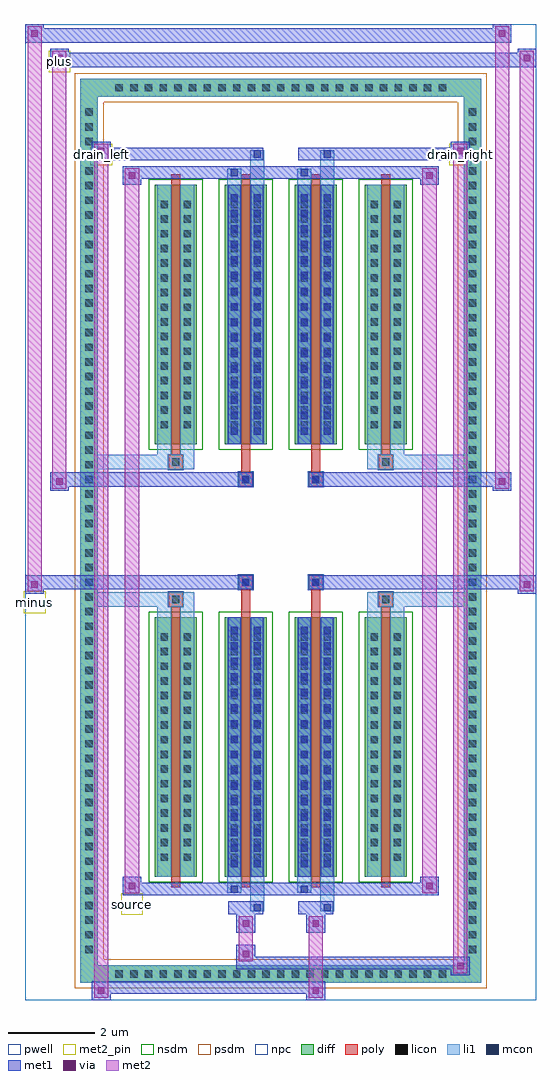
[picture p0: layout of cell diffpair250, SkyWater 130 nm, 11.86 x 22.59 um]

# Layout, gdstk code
import gdstk
lib = gdstk.Library(unit=1e-6, precision=5e-09)
def R(c, l, rs):  # rectangles x0, y0, x1, y1
    for r in rs: c.add(gdstk.rectangle(r[:2], r[2:], *l))
def A(c, l, x, y, w, h, nx, ny, dx, dy):  # array of equal rectangles
    R(c, l, [(x+i*dx, y+j*dy, x+i*dx+w, y+j*dy+h) for i in range(nx) for j in range(ny)])
def P(c, l, *ps):  # polygons
    for p in ps: c.add(gdstk.Polygon(p, *l))
pwell = (64, 44)
diff = (65, 20)
poly = (66, 20)
licon = (66, 44)
li1 = (67, 20)
mcon = (67, 44)
met1 = (68, 20)
via = (68, 44)
met2_pin = (69, 16)
met2 = (69, 20)
nsdm = (93, 44)
psdm = (94, 20)
npc = (95, 20)

diffpair250 = lib.new_cell('diffpair250')
R(diffpair250, pwell, [(-5.91,-10.86,5.91,11.73), (-3.23,-9.05,-0.01,-0.825), (0.01,-9.05,3.23,-0.825), (-3.23,0.825,-0.01,9.05), (0.01,0.825,3.23,9.05)])
A(diffpair250, diff, -3.945, -10.46, 0.41, 0.41, 23, 2, 0.34, 20.51)
A(diffpair250, diff, -4.64, -9.895, 0.41, 0.41, 1, 58, 0, 0.34)
A(diffpair250, diff, 4.23, -9.895, 0.41, 0.41, 1, 58, 0, 0.34)
A(diffpair250, diff, -2.92, -8.005, 0.98, 6, 4, 2, 1.62, 10.01)
R(diffpair250, diff, [(-3.945,-10.46,3.945,-10.05), (-4.64,-9.895,-4.23,9.895), (4.23,-9.895,4.64,9.895), (-3.945,10.05,3.945,10.46)])
P(diffpair250, diff, [(4.64,10.46),(-4.64,10.46),(-4.64,-10.05),(-4.23,-10.05),(-4.23,10.05),(4.23,10.05),(4.23,-10.05),(-4.23,-10.05),(-4.64,-10.05),(-4.64,-10.46),(4.64,-10.46)])
A(diffpair250, poly, -2.53, -8.255, 0.2, 6.5, 4, 2, 1.62, 10.01)
R(diffpair250, poly, [(-2.595,-1.755,-2.265,-1.425), (-2.595,-1.755,-2.265,-1.425), (-0.91,-1.755,-0.71,-1.355), (0.71,-1.755,0.91,-1.355), (2.265,-1.755,2.595,-1.425), (2.265,-1.755,2.595,-1.425), (-0.975,-1.355,-0.645,-1.025), (-0.975,-1.355,-0.645,-1.025), (0.645,-1.355,0.975,-1.025), (0.645,-1.355,0.975,-1.025), (-0.975,1.025,-0.645,1.355), (-0.975,1.025,-0.645,1.355), (0.645,1.025,0.975,1.355), (0.645,1.025,0.975,1.355), (-0.91,1.355,-0.71,1.755), (0.71,1.355,0.91,1.755), (-2.595,1.425,-2.265,1.755), (-2.595,1.425,-2.265,1.755), (2.265,1.425,2.595,1.755), (2.265,1.425,2.595,1.755)])
A(diffpair250, licon, -3.825, -10.34, 0.17, 0.17, 23, 2, 0.34, 20.51)
A(diffpair250, licon, -4.52, -9.775, 0.17, 0.17, 1, 58, 0, 0.34)
A(diffpair250, licon, 4.35, -9.775, 0.17, 0.17, 1, 58, 0, 0.34)
A(diffpair250, licon, -2.78, -7.64, 0.17, 0.17, 1, 16, 0, 0.34)
A(diffpair250, licon, -2.25, -7.64, 0.17, 0.17, 1, 16, 0, 0.34)
A(diffpair250, licon, -1.16, -7.64, 0.17, 0.17, 1, 16, 0, 0.34)
A(diffpair250, licon, -0.63, -7.64, 0.17, 0.17, 1, 16, 0, 0.34)
A(diffpair250, licon, 0.46, -7.64, 0.17, 0.17, 1, 16, 0, 0.34)
A(diffpair250, licon, 0.99, -7.64, 0.17, 0.17, 1, 16, 0, 0.34)
A(diffpair250, licon, 2.08, -7.64, 0.17, 0.17, 1, 16, 0, 0.34)
A(diffpair250, licon, 2.61, -7.64, 0.17, 0.17, 1, 16, 0, 0.34)
A(diffpair250, licon, -2.78, 2.37, 0.17, 0.17, 1, 16, 0, 0.34)
A(diffpair250, licon, -2.25, 2.37, 0.17, 0.17, 1, 16, 0, 0.34)
A(diffpair250, licon, -1.16, 2.37, 0.17, 0.17, 1, 16, 0, 0.34)
A(diffpair250, licon, -0.63, 2.37, 0.17, 0.17, 1, 16, 0, 0.34)
A(diffpair250, licon, 0.46, 2.37, 0.17, 0.17, 1, 16, 0, 0.34)
A(diffpair250, licon, 0.99, 2.37, 0.17, 0.17, 1, 16, 0, 0.34)
A(diffpair250, licon, 2.08, 2.37, 0.17, 0.17, 1, 16, 0, 0.34)
A(diffpair250, licon, 2.61, 2.37, 0.17, 0.17, 1, 16, 0, 0.34)
R(diffpair250, licon, [(-2.515,-1.675,-2.345,-1.505), (2.345,-1.675,2.515,-1.505), (-0.895,-1.275,-0.725,-1.105), (0.725,-1.275,0.895,-1.105), (-0.895,1.105,-0.725,1.275), (0.725,1.105,0.895,1.275), (-2.515,1.505,-2.345,1.675), (2.345,1.505,2.515,1.675)])
A(diffpair250, li1, -3.905, -10.42, 0.33, 0.33, 23, 2, 0.34, 20.51)
A(diffpair250, li1, -4.6, -9.855, 0.33, 0.33, 1, 58, 0, 0.34)
A(diffpair250, li1, 4.27, -9.855, 0.33, 0.33, 1, 58, 0, 0.34)
A(diffpair250, li1, -1.16, -7.79, 0.17, 0.17, 1, 16, 0, 0.36)
A(diffpair250, li1, -0.63, -7.79, 0.17, 0.17, 1, 16, 0, 0.36)
A(diffpair250, li1, 0.46, -7.79, 0.17, 0.17, 1, 16, 0, 0.36)
A(diffpair250, li1, 0.99, -7.79, 0.17, 0.17, 1, 16, 0, 0.36)
A(diffpair250, li1, -2.86, -7.72, 0.33, 0.33, 1, 16, 0, 0.34)
A(diffpair250, li1, -2.33, -7.72, 0.33, 0.33, 1, 16, 0, 0.34)
A(diffpair250, li1, -1.24, -7.72, 0.33, 0.33, 1, 16, 0, 0.34)
A(diffpair250, li1, -0.71, -7.72, 0.33, 0.33, 1, 16, 0, 0.34)
A(diffpair250, li1, 0.38, -7.72, 0.33, 0.33, 1, 16, 0, 0.34)
A(diffpair250, li1, 0.91, -7.72, 0.33, 0.33, 1, 16, 0, 0.34)
A(diffpair250, li1, 2, -7.72, 0.33, 0.33, 1, 16, 0, 0.34)
A(diffpair250, li1, 2.53, -7.72, 0.33, 0.33, 1, 16, 0, 0.34)
A(diffpair250, li1, -1.16, 2.22, 0.17, 0.17, 1, 16, 0, 0.36)
A(diffpair250, li1, -0.63, 2.22, 0.17, 0.17, 1, 16, 0, 0.36)
A(diffpair250, li1, 0.46, 2.22, 0.17, 0.17, 1, 16, 0, 0.36)
A(diffpair250, li1, 0.99, 2.22, 0.17, 0.17, 1, 16, 0, 0.36)
A(diffpair250, li1, -2.86, 2.29, 0.33, 0.33, 1, 16, 0, 0.34)
A(diffpair250, li1, -2.33, 2.29, 0.33, 0.33, 1, 16, 0, 0.34)
A(diffpair250, li1, -1.24, 2.29, 0.33, 0.33, 1, 16, 0, 0.34)
A(diffpair250, li1, -0.71, 2.29, 0.33, 0.33, 1, 16, 0, 0.34)
A(diffpair250, li1, 0.38, 2.29, 0.33, 0.33, 1, 16, 0, 0.34)
A(diffpair250, li1, 0.91, 2.29, 0.33, 0.33, 1, 16, 0, 0.34)
A(diffpair250, li1, 2, 2.29, 0.33, 0.33, 1, 16, 0, 0.34)
A(diffpair250, li1, 2.53, 2.29, 0.33, 0.33, 1, 16, 0, 0.34)
R(diffpair250, li1, [(-4.64,-10.46,-4.23,-10.05), (-4.64,-10.46,-4.23,-10.05), (-4.23,-10.46,4.23,-10.05), (4.23,-10.46,4.64,-10.05), (4.23,-10.46,4.64,-10.05), (-4.64,-10.05,-4.23,10.05), (4.23,-10.05,4.64,10.05), (-0.71,-8.81,-0.38,-8.005), (-0.63,-8.81,-0.46,-8.64), (0.91,-8.81,1.24,-8.005), (0.99,-8.81,1.16,-8.64), (-1.24,-8.38,-0.91,-8.005), (-1.16,-8.38,-0.99,-8.21), (0.38,-8.38,0.71,-8.005), (0.46,-8.38,0.63,-8.21), (-2.86,-8.005,-2.53,-2.005), (-2.33,-8.005,-2,-2.005), (-1.24,-8.005,-0.91,-2.005), (-0.71,-8.005,-0.38,-2.005), (0.38,-8.005,0.71,-2.005), (0.91,-8.005,1.24,-2.005), (2,-8.005,2.33,-2.005), (2.53,-8.005,2.86,-2.005), (-1.16,-7.79,-0.99,-2.22), (-0.63,-7.79,-0.46,-2.22), (0.46,-7.79,0.63,-2.22), (0.99,-7.79,1.16,-2.22), (-2.86,-2.005,-2.53,-1.425), (-2.33,-2.005,-2,-1.425), (2,-2.005,2.33,-1.425), (2.53,-2.005,2.86,-1.425), (-4.64,-1.755,-2.595,-1.425), (-2.86,-1.755,-2.595,-1.425), (-2.595,-1.755,-2.265,-1.425), (-2.265,-1.755,-2,-1.425), (2,-1.755,2.265,-1.425), (2.265,-1.755,2.595,-1.425), (2.265,-1.755,4.64,-1.425), (2.595,-1.755,2.86,-1.425), (-0.975,-1.355,-0.645,-1.025), (0.645,-1.355,0.975,-1.025), (-0.975,1.025,-0.645,1.355), (0.645,1.025,0.975,1.355), (-4.64,1.425,-2.595,1.755), (-2.86,1.425,-2.595,1.755), (-2.86,1.425,-2.53,2.005), (-2.595,1.425,-2.265,1.755), (-2.33,1.425,-2,2.005), (-2.265,1.425,-2,1.755), (2,1.425,2.265,1.755), (2,1.425,2.33,2.005), (2.265,1.425,2.595,1.755), (2.265,1.425,4.64,1.755), (2.53,1.425,2.86,2.005), (2.595,1.425,2.86,1.755), (-2.86,2.005,-2.53,8.005), (-2.33,2.005,-2,8.005), (-1.24,2.005,-0.91,8.005), (-0.71,2.005,-0.38,8.005), (0.38,2.005,0.71,8.005), (0.91,2.005,1.24,8.005), (2,2.005,2.33,8.005), (2.53,2.005,2.86,8.005), (-1.16,2.22,-0.99,7.79), (-0.63,2.22,-0.46,7.79), (0.46,2.22,0.63,7.79), (0.99,2.22,1.16,7.79), (-1.24,8.005,-0.91,8.38), (-0.71,8.005,-0.38,8.81), (0.38,8.005,0.71,8.38), (0.91,8.005,1.24,8.81), (-1.16,8.21,-0.99,8.38), (0.46,8.21,0.63,8.38), (-0.63,8.64,-0.46,8.81), (0.99,8.64,1.16,8.81), (-4.64,10.05,-4.23,10.46), (-4.64,10.05,-4.23,10.46), (-4.23,10.05,4.23,10.46), (4.23,10.05,4.64,10.46), (4.23,10.05,4.64,10.46)])
A(diffpair250, mcon, -1.16, -7.79, 0.17, 0.17, 1, 16, 0, 0.36)
A(diffpair250, mcon, -0.63, -7.79, 0.17, 0.17, 1, 16, 0, 0.36)
A(diffpair250, mcon, 0.46, -7.79, 0.17, 0.17, 1, 16, 0, 0.36)
A(diffpair250, mcon, 0.99, -7.79, 0.17, 0.17, 1, 16, 0, 0.36)
A(diffpair250, mcon, -1.16, 2.22, 0.17, 0.17, 1, 16, 0, 0.36)
A(diffpair250, mcon, -0.63, 2.22, 0.17, 0.17, 1, 16, 0, 0.36)
A(diffpair250, mcon, 0.46, 2.22, 0.17, 0.17, 1, 16, 0, 0.36)
A(diffpair250, mcon, 0.99, 2.22, 0.17, 0.17, 1, 16, 0, 0.36)
R(diffpair250, mcon, [(-0.63,-8.81,-0.46,-8.64), (0.99,-8.81,1.16,-8.64), (-1.16,-8.38,-0.99,-8.21), (0.46,-8.38,0.63,-8.21), (-0.895,-1.275,-0.725,-1.105), (0.725,-1.275,0.895,-1.105), (-0.895,1.105,-0.725,1.275), (0.725,1.105,0.895,1.275), (-1.16,8.21,-0.99,8.38), (0.46,8.21,0.63,8.38), (-0.63,8.64,-0.46,8.81), (0.99,8.64,1.16,8.81)])
A(diffpair250, met1, -1.22, -7.85, 0.29, 0.29, 1, 16, 0, 0.36)
A(diffpair250, met1, -0.69, -7.85, 0.29, 0.29, 1, 16, 0, 0.36)
A(diffpair250, met1, 0.4, -7.85, 0.29, 0.29, 1, 16, 0, 0.36)
A(diffpair250, met1, 0.93, -7.85, 0.29, 0.29, 1, 16, 0, 0.36)
A(diffpair250, met1, -1.22, 2.16, 0.29, 0.29, 1, 16, 0, 0.36)
A(diffpair250, met1, -0.69, 2.16, 0.29, 0.29, 1, 16, 0, 0.36)
A(diffpair250, met1, 0.4, 2.16, 0.29, 0.29, 1, 16, 0, 0.36)
A(diffpair250, met1, 0.93, 2.16, 0.29, 0.29, 1, 16, 0, 0.36)
R(diffpair250, met1, [(-4.37,-10.86,-3.94,-10.43), (0.595,-10.86,1.025,-10.43), (-4.37,-10.72,1.025,-10.43), (3.94,-10.29,4.37,-9.86), (-1.025,-10.15,4.37,-9.86), (-1.025,-10.01,-0.595,-9.58), (-1.025,-9.3,-0.595,-8.87), (0.595,-9.3,1.025,-8.87), (-1.22,-8.87,-0.4,-8.58), (-0.69,-8.87,-0.4,-8.58), (0.4,-8.87,1.22,-8.58), (0.93,-8.87,1.22,-8.58), (-3.66,-8.44,-3.23,-8.01), (-3.66,-8.44,-1.22,-8.15), (-1.22,-8.44,-0.93,-8.15), (-1.22,-8.44,-0.4,-8.15), (-0.4,-8.44,0.4,-8.15), (0.4,-8.44,0.69,-8.15), (0.4,-8.44,1.22,-8.15), (1.22,-8.44,3.66,-8.15), (3.23,-8.44,3.66,-8.01), (-1.22,-8.005,-0.93,-2.005), (-0.69,-8.005,-0.4,-2.005), (0.4,-8.005,0.69,-2.005), (0.93,-8.005,1.22,-2.005), (-5.91,-1.455,-5.48,-1.025), (5.48,-1.455,5.91,-1.025), (-5.91,-1.355,-0.645,-1.025), (-0.975,-1.355,-0.645,-1.025), (0.645,-1.355,0.975,-1.025), (0.645,-1.355,5.91,-1.025), (-0.955,-1.335,-0.665,-1.045), (0.665,-1.335,0.955,-1.045), (-5.34,0.925,-4.91,1.355), (4.91,0.925,5.34,1.355), (-5.34,1.025,-0.975,1.355), (-0.975,1.025,-0.645,1.355), (0.645,1.025,0.975,1.355), (0.975,1.025,5.34,1.355), (-0.955,1.045,-0.665,1.335), (0.665,1.045,0.955,1.335), (-1.22,2.005,-0.93,8.005), (-0.69,2.005,-0.4,8.005), (0.4,2.005,0.69,8.005), (0.93,2.005,1.22,8.005), (-3.66,8.01,-3.23,8.44), (3.23,8.01,3.66,8.44), (-3.66,8.15,-1.22,8.44), (-1.22,8.15,-0.93,8.44), (-1.22,8.15,-0.4,8.44), (-0.4,8.15,0.4,8.44), (0.4,8.15,0.69,8.44), (0.4,8.15,1.22,8.44), (1.22,8.15,3.66,8.44), (-4.37,8.58,-3.94,9.01), (-4.37,8.58,-1.22,8.87), (-1.22,8.58,-0.4,8.87), (-0.69,8.58,-0.4,8.87), (0.4,8.58,1.22,8.87), (0.93,8.58,1.22,8.87), (1.22,8.58,4.37,8.87), (3.94,8.58,4.37,9.01), (-5.34,10.73,-4.91,11.16), (-5.34,10.73,-3.23,11.06), (-3.23,10.73,3.23,11.06), (3.23,10.73,5.91,11.06), (5.48,10.73,5.91,11.16), (-5.91,11.3,-5.48,11.73), (-5.91,11.3,-3.23,11.63), (-3.23,11.3,3.23,11.63), (3.23,11.3,5.34,11.63), (4.91,11.3,5.34,11.73)])
R(diffpair250, via, [(-4.23,-10.72,-4.08,-10.57), (0.735,-10.72,0.885,-10.57), (4.08,-10.15,4.23,-10), (-0.885,-9.87,-0.735,-9.72), (-0.885,-9.16,-0.735,-9.01), (0.735,-9.16,0.885,-9.01), (-3.52,-8.3,-3.37,-8.15), (3.37,-8.3,3.52,-8.15), (-5.77,-1.315,-5.62,-1.165), (5.62,-1.315,5.77,-1.165), (-5.2,1.065,-5.05,1.215), (5.05,1.065,5.2,1.215), (-3.52,8.15,-3.37,8.3), (3.37,8.15,3.52,8.3), (-4.23,8.72,-4.08,8.87), (4.08,8.72,4.23,8.87), (-5.2,10.87,-5.05,11.02), (5.62,10.87,5.77,11.02), (-5.77,11.44,-5.62,11.59), (5.05,11.44,5.2,11.59)])
R(diffpair250, met2_pin, [(-3.695,-8.89,-3.195,-8.39), (-5.945,-1.905,-5.445,-1.405), (-4.405,8.46,-3.905,8.96), (3.905,8.46,4.405,8.96), (-5.375,10.61,-4.875,11.11)])
R(diffpair250, met2, [(-4.32,-10.81,-3.99,-10.48), (-4.32,-10.81,-3.99,8.96), (0.645,-10.81,0.975,-10.48), (0.645,-10.48,0.975,-9.25), (3.99,-10.24,4.32,-9.91), (3.99,-10.24,4.32,8.96), (-0.975,-9.96,-0.645,-9.63), (-0.975,-9.63,-0.645,-9.25), (-0.975,-9.25,-0.645,-8.92), (0.645,-9.25,0.975,-8.92), (-3.61,-8.39,-3.28,-8.06), (-3.61,-8.39,-3.28,8.39), (3.28,-8.39,3.61,-8.06), (3.28,-8.39,3.61,8.39), (-5.86,-1.405,-5.53,-1.075), (-5.86,-1.405,-5.53,11.68), (5.53,-1.405,5.86,-1.075), (5.53,-1.405,5.86,11.11), (-5.29,0.975,-4.96,1.305), (-5.29,0.975,-4.96,11.11), (4.96,0.975,5.29,1.305), (4.96,0.975,5.29,11.68), (-3.61,8.06,-3.28,8.39), (3.28,8.06,3.61,8.39), (-4.32,8.63,-3.99,8.96), (3.99,8.63,4.32,8.96), (-5.29,10.78,-4.96,11.11), (5.53,10.78,5.86,11.11), (-5.86,11.35,-5.53,11.68), (4.96,11.35,5.29,11.68)])
P(diffpair250, met2, [(5.86,-1.405),(5.86,-1.405),(5.86,-1.075),(5.86,-1.075)],
  [(5.86,10.78),(5.86,10.78),(5.86,11.11),(5.86,11.11)],
  [(-5.53,-1.405),(-5.53,-1.405),(-5.53,-1.075),(-5.53,-1.075)],
  [(-5.53,11.35),(-5.53,11.35),(-5.53,11.68),(-5.53,11.68)],
  [(5.29,0.975),(5.29,0.975),(5.29,1.305),(5.29,1.305)],
  [(5.29,11.35),(5.29,11.35),(5.29,11.68),(5.29,11.68)],
  [(-4.96,0.975),(-4.96,0.975),(-4.96,1.305),(-4.96,1.305)],
  [(-4.96,10.78),(-4.96,10.78),(-4.96,11.11),(-4.96,11.11)],
  [(-3.99,-10.81),(-3.99,-10.81),(-3.99,-10.48),(-3.99,-10.48)],
  [(-3.99,8.63),(-3.99,8.63),(-3.99,8.96),(-3.99,8.96)],
  [(4.32,-10.24),(4.32,-10.24),(4.32,-9.91),(4.32,-9.91)],
  [(4.32,8.63),(4.32,8.63),(4.32,8.96),(4.32,8.96)],
  [(-3.28,-8.39),(-3.28,-8.39),(-3.28,-8.06),(-3.28,-8.06)],
  [(-3.28,8.06),(-3.28,8.06),(-3.28,8.39),(-3.28,8.39)],
  [(3.61,-8.39),(3.61,-8.39),(3.61,-8.06),(3.61,-8.06)],
  [(3.61,8.06),(3.61,8.06),(3.61,8.39),(3.61,8.39)])
A(diffpair250, nsdm, -3.05, -8.135, 1.24, 6.26, 4, 2, 1.62, 10.01)
P(diffpair250, psdm, [(4.77,10.59),(-4.77,10.59),(-4.77,-9.92),(-4.1,-9.92),(-4.1,9.92),(4.1,9.92),(4.1,-9.92),(-4.1,-9.92),(-4.77,-9.92),(-4.77,-10.59),(4.77,-10.59)])
R(diffpair250, npc, [(-2.615,-1.775,-2.245,-1.405), (2.245,-1.775,2.615,-1.405), (-0.995,-1.375,-0.625,-1.005), (0.625,-1.375,0.995,-1.005), (-0.995,1.005,-0.625,1.375), (0.625,1.005,0.995,1.375), (-2.615,1.405,-2.245,1.775), (2.245,1.405,2.615,1.775)])
diffpair250.add(gdstk.Label('minus', (-5.695,-1.655), layer=69, texttype=5))
diffpair250.add(gdstk.Label('drain_right', (4.155,8.71), layer=69, texttype=5))
diffpair250.add(gdstk.Label('drain_left', (-4.155,8.71), layer=69, texttype=5))
diffpair250.add(gdstk.Label('source', (-3.445,-8.64), layer=69, texttype=5))
diffpair250.add(gdstk.Label('plus', (-5.125,10.86), layer=69, texttype=5))

lib.write_gds('diffpair250.gds')
